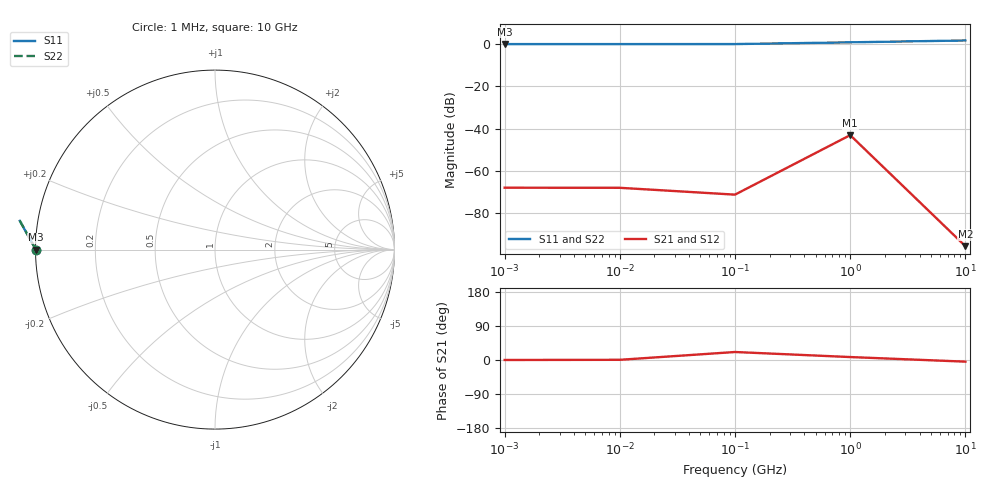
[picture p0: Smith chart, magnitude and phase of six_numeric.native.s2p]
! Sonnet Data File
! From: em Version : 18.53-Lite
! From Project: d_6bare
! Data is NOT De-embedded
! Data File Written: 10/12/2026 11:41:56
!< HDATE 10/12/2026 11:41:56
!< MDATE 10/12/2026 11:41:56
# GHZ S RI R 50.00000
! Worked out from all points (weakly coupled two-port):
!   5 points, 1 MHz to 10 GHz, reference 50 ohm
!   highest |S21| = -43.14 dB at 1 GHz (marker M1); lowest = -95.7 dB at 10 GHz (marker M2)
!   lowest |S11| = 0.0 dB at 1 MHz (marker M3)
!   |S11| at or under -10 dB: nowhere
!   |S22| runs from 0.0 to 1.7 dB; largest |S21 - S12| = 3.6e-13
0.001  -0.9985 3.4e-05  0.000396 3.28e-07  0.000396 3.28e-07  -0.9985 3.4e-05
0.01  -0.9985 0.000338  0.000394 3.5e-06  0.000394 3.5e-06  -0.9985 0.000338
0.1  -0.9997 0.00294  0.000253 9.76e-05  0.000253 9.76e-05  -0.9997 0.00294
1  -1.087 0.1601  0.0069 0.000943  0.0069 0.000943  -1.087 0.1601
10  -1.197 -0.2257  1.63e-05 -1.24e-06  1.63e-05 -1.24e-06  -1.197 -0.2257
